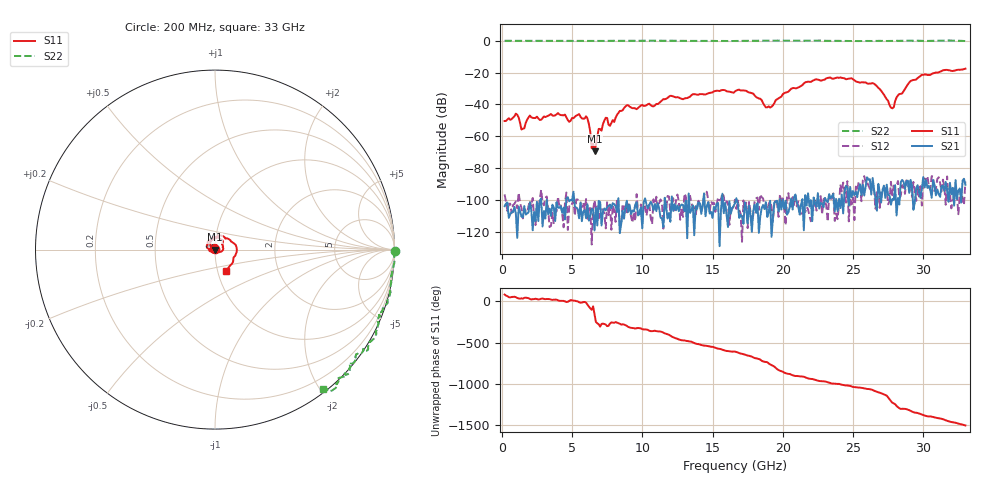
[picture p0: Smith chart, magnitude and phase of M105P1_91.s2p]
# GHZ S RI R 50
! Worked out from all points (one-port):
!   329 points, 200 MHz to 33 GHz, reference 50 ohm
!   lowest |S11| = -69.5 dB at 6.6 GHz (marker M1), VSWR 1.00, Z = 50 - j0.0127 ohm
!   |S11| at or under -10 dB: start of sweep to end of sweep
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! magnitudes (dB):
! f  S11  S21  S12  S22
! 200 MHz  -50.4  -103.9  -96.5  0.0
! 1 GHz  -45.8  -108.4  -100.8  0.0
! 1.4 GHz  -55.7  -110.4  -104.9  0.0
! 2 GHz  -47.0  -101.4  -100.5  0.0
! 5.7 GHz  -48.7  -113.3  -104.5  -0.1
! 6.1 GHz  -48.9  -102.7  -111.8  -0.1
! 6.3 GHz  -57.3  -109.9  -104.4  -0.1
! 6.4 GHz  -67.5  -105.3  -127.9  -0.1
! 6.6 GHz  -69.5  -119.1  -100.2  -0.1
! 6.9 GHz  -55.3  -100.5  -111.6  -0.1
! 7.1 GHz  -56.5  -116.0  -106.0  0.0
! 7.4 GHz  -48.3  -106.4  -117.8  -0.1
! 7.7 GHz  -53.4  -103.0  -102.9  0.0
! 8.9 GHz  -40.5  -100.4  -109.1  0.0
! 11.2 GHz  -39.1  -105.2  -101.9  0.0
! 16.6 GHz  -31.8  -102.0  -99.8  -0.1
! 19.1 GHz  -42.0  -100.5  -100.7  0.0
! 22.1 GHz  -25.2  -113.2  -106.2  0.1
! 26.4 GHz  -26.6  -86.2  -92.3  -0.1
! 27.6 GHz  -40.3  -97.1  -100.6  -0.1
! 29.9 GHz  -21.4  -92.9  -103.5  0.0
! 33 GHz  -17.5  -90.4  -88.4  -0.2
